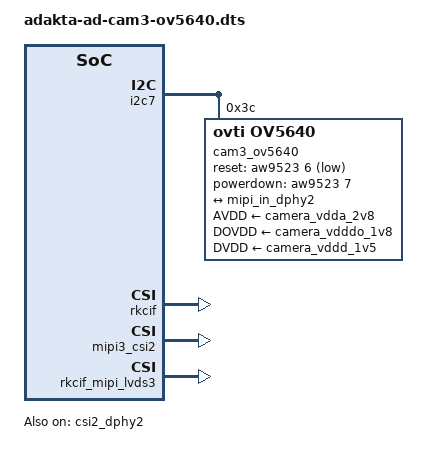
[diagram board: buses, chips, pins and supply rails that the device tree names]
/dts-v1/;
/plugin/;

#include <dt-bindings/clock/rk3588-cru.h>
#include <dt-bindings/gpio/gpio.h>
#include <dt-bindings/pinctrl/rockchip.h>

/ {
	metadata {
		title = "Enable OV5640 MIPI-CSI Camera 3";
		compatible = "adakta,adakta-ad-rk3588";
		category = "camera";
		description = "Enable OV5640 MIPI-CSI Camera 3";
	};

	fragment@0 {
		target = <&i2c7>;

		__overlay__ {
			status = "okay";

			cam3_ov5640: cam3_ov5640@3c {
				status = "okay";

				compatible = "ovti,ov5640";
				reg = <0x3c>;

				pinctrl-names = "default";
				pinctrl-0 = <&mipim0_camera4_clk &aw9523_cam3_powerdown_pins &aw9523_cam3_reset_pins>;

				reset-gpios = <&aw9523 6 GPIO_ACTIVE_LOW>;
				powerdown-gpios = <&aw9523 7 GPIO_ACTIVE_HIGH>;

				clocks = <&cru CLK_MIPI_CAMARAOUT_M4>;
				clock-names = "xclk";

				AVDD-supply = <&camera_vdda_2v8>;
				DOVDD-supply = <&camera_vdddo_1v8>;
				DVDD-supply = <&camera_vddd_1v5>;

				rockchip,camera-module-index = <3>;
				rockchip,camera-module-facing = "back";
				rockchip,camera-module-name = "KLT-KD6-OV5640";
				rockchip,camera-module-lens-name = "default";

				port {
					cam3_ov5640_out: endpoint {
						remote-endpoint = <&mipi_in_dphy2>;
						data-lanes = <1 2>;
					};
				};
			};
		};
	};

	fragment@1 {
		target = <&mipi_in_dphy2>;

		__overlay__ {
			remote-endpoint = <&cam3_ov5640_out>;
			data-lanes = <1 2>;
		};
	};

	fragment@2 {
		target = <&rkcif>;

		__overlay__ {
			status = "okay";
		};
	};

	fragment@3 {
		target = <&rkcif_mmu>;

		__overlay__ {
			status = "okay";
		};
	};

	fragment@4 {
		target = <&csi2_dphy2>;

		__overlay__ {
			status = "okay";
		};
	};

	fragment@5 {
		target = <&mipi3_csi2>;

		__overlay__ {
			status = "okay";
		};
	};

	fragment@6 {
		target = <&rkcif_mipi_lvds3>;

		__overlay__ {
			status = "okay";
		};
	};
};
